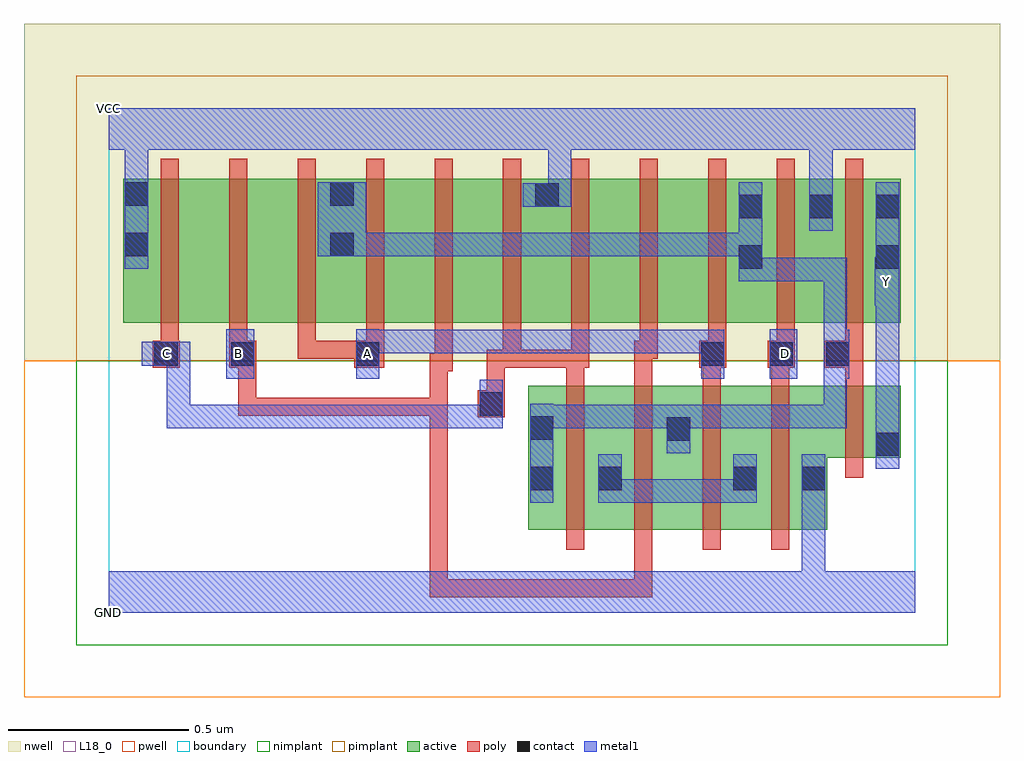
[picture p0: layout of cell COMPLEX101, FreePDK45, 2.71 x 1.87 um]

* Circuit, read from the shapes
.subckt COMPLEX101 A B C D GND VCC Y
M1 n1 C n2 VSUBS nfet w=0.4u l=0.05u
M2 n2 B n1 VSUBS nfet w=0.4u l=0.05u
M3 n1 A n2 VSUBS nfet w=0.4u l=0.05u
M4 GND D n1 VSUBS nfet w=0.4u l=0.05u
M5 Y n2 GND VSUBS nfet w=0.2u l=0.05u
M6 n3 C VCC n4 pfet w=0.4u l=0.05u
M7 n5 B n3 n4 pfet w=0.4u l=0.05u
M8 n2 A n5 n4 pfet w=0.4u l=0.05u
M9 n6 A n2 n4 pfet w=0.4u l=0.05u
M10 n7 B n6 n4 pfet w=0.4u l=0.05u
M11 VCC C n7 n4 pfet w=0.4u l=0.05u
M12 n8 C VCC n4 pfet w=0.4u l=0.05u
M13 n9 B n8 n4 pfet w=0.4u l=0.05u
M14 n2 A n9 n4 pfet w=0.4u l=0.05u
M15 VCC D n2 n4 pfet w=0.4u l=0.05u
M16 Y n2 VCC n4 pfet w=0.4u l=0.05u
.ends

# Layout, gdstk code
import gdstk
lib = gdstk.Library(unit=1e-6, precision=1e-09)
def R(c, l, rs):  # rectangles x0, y0, x1, y1
    for r in rs: c.add(gdstk.rectangle(r[:2], r[2:], *l))
def A(c, l, x, y, w, h, nx, ny, dx, dy):  # array of equal rectangles
    R(c, l, [(x+i*dx, y+j*dy, x+i*dx+w, y+j*dy+h) for i in range(nx) for j in range(ny)])
active = (1, 0)
pwell = (2, 0)
nwell = (3, 0)
nimplant = (4, 0)
pimplant = (5, 0)
poly = (9, 0)
contact = (10, 0)
metal1 = (11, 0)
L18_0 = (18, 0)
boundary = (235, 0)

complex101 = lib.new_cell('COMPLEX101')
A(complex101, active, 0.04, 0.805, 0.225, 0.4, 3, 1, 0.57, 0)
A(complex101, active, 0.265, 0.805, 0.19, 0.4, 3, 1, 0.57, 0)
R(complex101, active, [(1.165,0.23,1.43,0.63), (1.355,0.23,1.62,0.63), (1.545,0.23,1.805,0.63), (1.73,0.23,1.995,0.63), (1.92,0.23,1.995,0.597), (1.165,0.245,1.24,0.63), (1.355,0.245,1.43,0.537), (1.545,0.245,1.62,0.63), (1.73,0.245,1.805,0.492), (1.92,0.43,2.2,0.63), (2.125,0.43,2.2,0.63), (0.04,0.805,0.115,1.205), (0.455,0.805,0.685,1.205), (0.61,0.805,0.685,1.2), (1.025,0.805,1.255,1.205), (1.18,0.805,1.255,1.205), (1.595,0.805,1.82,1.205), (1.745,0.805,2.015,1.205), (1.745,0.805,1.82,1.2), (1.94,0.805,2.2,1.205), (2.125,0.805,2.2,1.165), (1.94,0.907,2.015,1.205)])
R(complex101, pwell, [(-0.235,-0.235,2.475,0.7)])
R(complex101, nwell, [(-0.235,0.7,2.475,1.635)])
R(complex101, nimplant, [(-0.09,-0.09,2.33,0.7)])
R(complex101, pimplant, [(-0.09,0.7,2.33,1.49)])
A(complex101, poly, 1.27, 0.175, 0.05, 0.51, 4, 1, 0.19, 0)
A(complex101, poly, 0.145, 0.705, 0.05, 0.095, 4, 1, 0.19, 0)
A(complex101, poly, 1.475, 0.705, 0.05, 0.095, 4, 1, 0.19, 0)
A(complex101, poly, 0.145, 0.75, 0.05, 0.51, 11, 1, 0.19, 0)
R(complex101, poly, [(0.892,0.042,0.942,0.092), (0.892,0.042,0.942,0.092), (0.892,0.042,0.942,0.092), (0.892,0.042,0.942,0.092), (0.892,0.042,0.942,0.092), (0.892,0.042,0.942,0.092), (0.892,0.042,0.942,0.092), (0.892,0.042,1.187,0.092), (0.892,0.042,0.942,0.597), (1.137,0.042,1.187,0.092), (1.137,0.042,1.187,0.092), (1.137,0.042,1.187,0.092), (1.137,0.042,1.377,0.092), (1.327,0.042,1.377,0.092), (1.327,0.042,1.51,0.092), (1.46,0.042,1.51,0.225), (1.46,0.042,1.51,0.092), (1.46,0.042,1.51,0.092), (1.46,0.042,1.51,0.092), (2.045,0.375,2.095,0.685), (1.025,0.542,1.1,0.617), (0.36,0.547,0.41,0.73), (0.36,0.547,0.41,0.597), (0.36,0.547,0.41,0.597), (0.36,0.547,0.41,0.597), (0.36,0.547,0.41,0.597), (0.36,0.547,0.41,0.597), (0.36,0.547,0.542,0.597), (0.492,0.547,0.542,0.597), (0.492,0.547,0.542,0.597), (0.492,0.547,0.542,0.597), (0.492,0.547,0.81,0.597), (0.76,0.547,0.81,0.597), (0.76,0.547,0.81,0.597), (0.76,0.547,0.81,0.597), (0.76,0.547,0.942,0.597), (0.892,0.547,0.942,0.597), (0.892,0.547,0.942,0.72), (1.05,0.567,1.1,0.73), (1.27,0.635,1.32,0.73), (1.46,0.635,1.51,0.755), (1.65,0.635,1.7,0.73), (1.84,0.635,1.89,0.73), (2.045,0.635,2.095,0.73), (0.892,0.67,0.942,0.72), (0.892,0.67,0.942,0.72), (0.892,0.67,0.955,0.72), (0.905,0.67,0.955,0.8), (0.122,0.68,0.197,0.755), (0.335,0.68,0.41,0.755), (0.682,0.68,0.765,0.755), (1.05,0.68,1.115,0.73), (1.065,0.68,1.115,0.73), (1.065,0.68,1.145,0.73), (1.095,0.68,1.145,0.8), (1.095,0.68,1.145,0.73), (1.095,0.68,1.145,0.73), (1.095,0.68,1.32,0.73), (1.27,0.68,1.335,0.73), (1.285,0.68,1.335,0.8), (1.64,0.68,1.715,0.755), (1.83,0.68,1.905,0.755), (1.987,0.68,2.095,0.755), (0.525,0.705,0.575,0.755), (0.525,0.705,0.575,0.755), (0.525,0.705,0.575,0.755), (0.525,0.705,0.732,0.755), (1.46,0.705,1.525,0.755)])
R(complex101, contact, [(1.17,0.34,1.235,0.405), (1.36,0.34,1.425,0.405), (1.735,0.34,1.8,0.405), (1.925,0.34,1.99,0.405), (2.13,0.435,2.195,0.5), (1.55,0.477,1.615,0.542), (1.17,0.48,1.235,0.545), (1.03,0.547,1.095,0.612), (0.127,0.685,0.192,0.75), (0.34,0.685,0.405,0.75), (0.687,0.685,0.752,0.75), (1.645,0.685,1.71,0.75), (1.835,0.685,1.9,0.75), (1.992,0.685,2.057,0.75), (1.75,0.955,1.815,1.02), (2.13,0.955,2.195,1.02), (0.045,0.99,0.11,1.055), (0.615,0.99,0.68,1.055), (1.75,1.095,1.815,1.16), (1.945,1.095,2.01,1.16), (2.13,1.095,2.195,1.16), (1.185,1.127,1.25,1.192), (0.045,1.13,0.11,1.195), (0.615,1.13,0.68,1.195)])
R(complex101, metal1, [(0,0,2.24,0.115), (1.925,0.05,1.99,0.37), (1.17,0.305,1.235,0.58), (1.36,0.305,1.425,0.37), (1.36,0.305,1.425,0.37), (1.36,0.305,1.425,0.44), (1.36,0.305,1.615,0.37), (1.55,0.305,1.615,0.37), (1.55,0.305,1.615,0.37), (1.55,0.305,1.615,0.37), (1.55,0.305,1.8,0.37), (1.735,0.305,1.8,0.44), (1.925,0.305,1.99,0.37), (1.925,0.305,1.99,0.37), (1.925,0.305,1.99,0.44), (2.13,0.4,2.195,0.535), (1.55,0.442,1.615,0.577), (2.13,0.47,2.195,0.917), (0.162,0.512,0.227,0.577), (0.162,0.512,0.365,0.577), (0.162,0.512,0.227,0.75), (0.3,0.512,0.365,0.577), (0.3,0.512,0.365,0.577), (0.3,0.512,0.365,0.577), (0.3,0.512,0.502,0.577), (0.437,0.512,0.502,0.577), (0.437,0.512,0.502,0.577), (0.437,0.512,0.502,0.577), (0.437,0.512,0.64,0.577), (0.575,0.512,0.64,0.577), (0.575,0.512,0.89,0.577), (0.825,0.512,0.89,0.577), (0.825,0.512,0.89,0.577), (0.825,0.512,0.89,0.577), (0.825,0.512,1.077,0.577), (1.012,0.512,1.077,0.577), (1.012,0.512,1.077,0.577), (1.012,0.512,1.077,0.577), (1.012,0.512,1.095,0.577), (1.03,0.512,1.095,0.647), (1.17,0.512,1.235,0.577), (1.17,0.512,1.235,0.577), (1.17,0.512,1.372,0.577), (1.307,0.512,1.372,0.577), (1.307,0.512,1.372,0.577), (1.307,0.512,1.372,0.577), (1.307,0.512,1.615,0.577), (1.55,0.512,1.615,0.577), (1.55,0.512,1.615,0.577), (1.55,0.512,1.852,0.577), (1.787,0.512,1.852,0.577), (1.787,0.512,1.852,0.577), (1.787,0.512,1.852,0.577), (1.787,0.512,2.05,0.577), (1.985,0.512,2.05,0.577), (1.985,0.512,2.05,0.715), (0.327,0.65,0.405,0.787), (0.687,0.65,0.752,0.787), (1.645,0.65,1.71,0.785), (1.835,0.65,1.912,0.787), (1.985,0.65,2.05,0.715), (1.985,0.65,2.057,0.715), (1.985,0.65,2.05,0.985), (1.992,0.65,2.057,0.785), (0.092,0.685,0.227,0.752), (0.162,0.685,0.227,0.75), (0.162,0.685,0.227,0.75), (0.687,0.72,0.94,0.785), (0.875,0.72,0.94,0.785), (0.875,0.72,0.94,0.785), (0.875,0.72,0.94,0.785), (0.875,0.72,1.077,0.785), (1.012,0.72,1.077,0.785), (1.012,0.72,1.077,0.785), (1.012,0.72,1.077,0.785), (1.012,0.72,1.235,0.785), (1.17,0.72,1.235,0.785), (1.17,0.72,1.235,0.785), (1.17,0.72,1.235,0.785), (1.17,0.72,1.372,0.785), (1.307,0.72,1.372,0.785), (1.307,0.72,1.477,0.785), (1.412,0.72,1.477,0.785), (1.412,0.72,1.562,0.785), (1.497,0.72,1.562,0.785), (1.497,0.72,1.71,0.785), (2.127,0.852,2.195,0.987), (1.75,0.92,1.815,0.985), (1.75,0.92,1.815,0.985), (1.75,0.92,1.815,1.195), (1.75,0.92,2.05,0.985), (1.985,0.92,2.05,0.985), (2.13,0.92,2.195,0.985), (2.13,0.92,2.195,1.195), (0.045,0.955,0.11,1.23), (0.58,0.99,0.715,1.195), (0.65,0.99,0.715,1.055), (0.65,0.99,0.715,1.055), (0.65,0.99,0.94,1.055), (0.875,0.99,0.94,1.055), (0.875,0.99,0.94,1.055), (0.875,0.99,0.94,1.055), (0.875,0.99,1.077,1.055), (1.012,0.99,1.077,1.055), (1.012,0.99,1.077,1.055), (1.012,0.99,1.077,1.055), (1.012,0.99,1.235,1.055), (1.17,0.99,1.235,1.055), (1.17,0.99,1.235,1.055), (1.17,0.99,1.235,1.055), (1.17,0.99,1.372,1.055), (1.307,0.99,1.372,1.055), (1.307,0.99,1.372,1.055), (1.307,0.99,1.372,1.055), (1.307,0.99,1.615,1.055), (1.55,0.99,1.615,1.055), (1.55,0.99,1.615,1.055), (1.55,0.99,1.615,1.055), (1.55,0.99,1.815,1.055), (1.945,1.06,2.01,1.195), (1.15,1.127,1.285,1.192), (1.22,1.127,1.285,1.35), (1.945,1.13,2.01,1.35), (0.045,1.165,0.11,1.35), (0,1.285,2.24,1.4)])
R(complex101, L18_0, [(0,0,2.24,0.115), (1.925,0.05,1.99,0.37), (1.925,0.305,1.99,0.37), (1.925,0.305,1.99,0.37), (1.925,0.305,1.99,0.44), (2.13,0.4,2.195,0.535), (2.13,0.47,2.195,0.917), (0.162,0.512,0.227,0.577), (0.162,0.512,0.227,0.75), (0.162,0.512,0.365,0.577), (0.3,0.512,0.365,0.577), (0.3,0.512,0.365,0.577), (0.3,0.512,0.365,0.577), (0.3,0.512,0.502,0.577), (0.437,0.512,0.502,0.577), (0.437,0.512,0.502,0.577), (0.437,0.512,0.502,0.577), (0.437,0.512,0.64,0.577), (0.575,0.512,0.64,0.577), (0.575,0.512,0.89,0.577), (0.825,0.512,0.89,0.577), (0.825,0.512,0.89,0.577), (0.825,0.512,0.89,0.577), (0.825,0.512,1.077,0.577), (1.012,0.512,1.077,0.577), (1.012,0.512,1.077,0.577), (1.012,0.512,1.077,0.577), (1.012,0.512,1.095,0.577), (1.03,0.512,1.095,0.647), (0.327,0.65,0.405,0.787), (0.687,0.65,0.752,0.787), (1.645,0.65,1.71,0.785), (1.835,0.65,1.912,0.787), (0.092,0.685,0.227,0.752), (0.162,0.685,0.227,0.75), (0.162,0.685,0.227,0.75), (0.127,0.687,0.192,0.752), (0.327,0.687,0.392,0.752), (0.687,0.687,0.752,0.752), (1.847,0.687,1.912,0.752), (0.687,0.72,0.94,0.785), (0.875,0.72,0.94,0.785), (0.875,0.72,0.94,0.785), (0.875,0.72,0.94,0.785), (0.875,0.72,1.077,0.785), (1.012,0.72,1.077,0.785), (1.012,0.72,1.077,0.785), (1.012,0.72,1.077,0.785), (1.012,0.72,1.235,0.785), (1.17,0.72,1.235,0.785), (1.17,0.72,1.235,0.785), (1.17,0.72,1.235,0.785), (1.17,0.72,1.372,0.785), (1.307,0.72,1.372,0.785), (1.307,0.72,1.477,0.785), (1.412,0.72,1.477,0.785), (1.412,0.72,1.562,0.785), (1.497,0.72,1.562,0.785), (1.497,0.72,1.71,0.785), (2.127,0.852,2.195,0.987), (2.127,0.887,2.192,0.952), (2.13,0.92,2.195,1.195), (2.13,0.92,2.195,0.985), (0.045,0.955,0.11,1.23), (1.945,1.06,2.01,1.195), (1.15,1.127,1.285,1.192), (1.22,1.127,1.285,1.35), (1.945,1.13,2.01,1.35), (0.045,1.165,0.11,1.35), (0,1.285,2.24,1.4)])
R(complex101, boundary, [(0,0,2.24,1.4)])
complex101.add(gdstk.Label('A', (0.72,0.72), layer=11, texttype=0))
complex101.add(gdstk.Label('B', (0.36,0.72), layer=11, texttype=0))
complex101.add(gdstk.Label('C', (0.16,0.72), layer=11, texttype=0))
complex101.add(gdstk.Label('D', (1.88,0.72), layer=11, texttype=0))
complex101.add(gdstk.Label('Y', (2.16,0.92), layer=11, texttype=0))
complex101.add(gdstk.Label('VCC', (0,1.4), layer=11, texttype=0))
complex101.add(gdstk.Label('GND', (0,0), layer=11, texttype=0))

lib.write_gds('COMPLEX101.gds')
